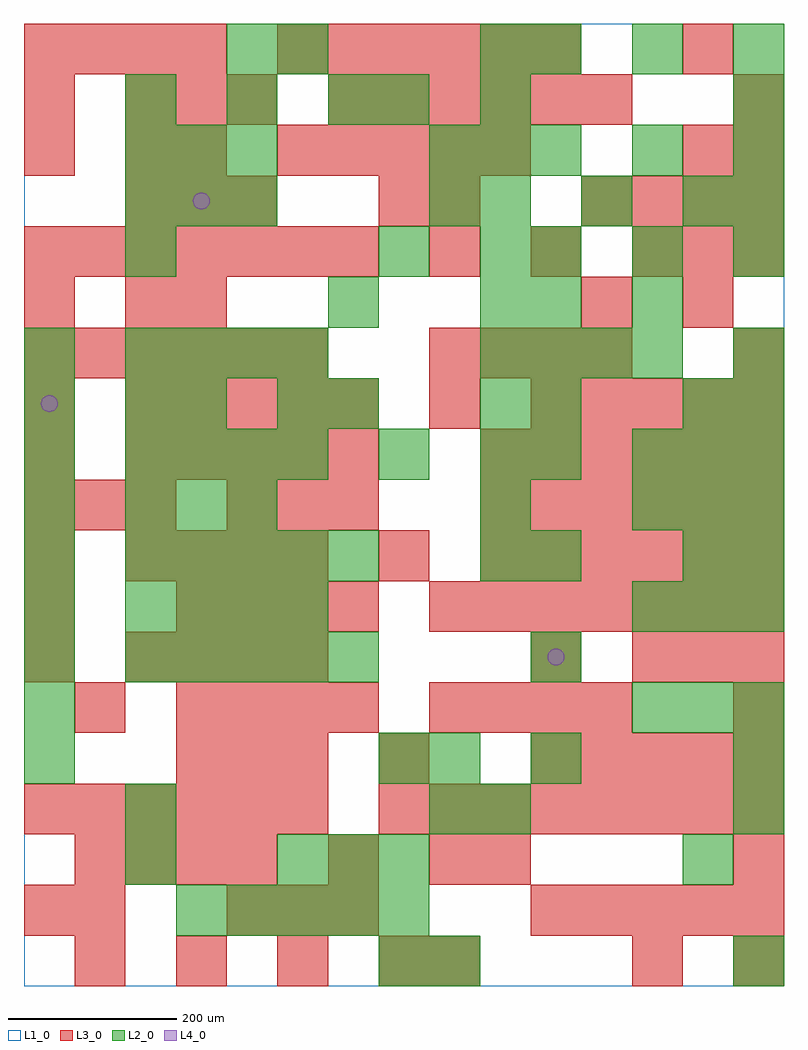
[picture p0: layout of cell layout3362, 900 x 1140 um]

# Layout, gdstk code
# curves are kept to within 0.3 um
import gdstk
lib = gdstk.Library(unit=1e-6, precision=1e-09)
def R(c, l, rs):  # rectangles x0, y0, x1, y1
    for r in rs: c.add(gdstk.rectangle(r[:2], r[2:], *l))
def A(c, l, x, y, w, h, nx, ny, dx, dy):  # array of equal rectangles
    R(c, l, [(x+i*dx, y+j*dy, x+i*dx+w, y+j*dy+h) for i in range(nx) for j in range(ny)])
def P(c, l, *ps):  # polygons
    for p in ps: c.add(gdstk.Polygon(p, *l))
L1_0 = (1, 0)
L2_0 = (2, 0)
L3_0 = (3, 0)
L4_0 = (4, 0)

layout3362 = lib.new_cell('layout3362')
R(layout3362, L1_0, [(0,0,900,1140)])
A(layout3362, L2_0, 180, 60, 60, 60, 5, 1, 60, 0)
A(layout3362, L2_0, 300, 120, 60, 60, 3, 1, 60, 0)
A(layout3362, L2_0, 0, 240, 60, 60, 1, 9, 0, 60)
A(layout3362, L2_0, 600, 240, 60, 60, 1, 4, 0, 120)
A(layout3362, L2_0, 720, 300, 60, 60, 3, 3, 60, 120)
A(layout3362, L2_0, 120, 360, 60, 60, 5, 2, 60, 120)
A(layout3362, L2_0, 120, 420, 60, 60, 4, 2, 60, 180)
A(layout3362, L2_0, 540, 480, 60, 60, 1, 4, 0, 60)
A(layout3362, L2_0, 120, 540, 60, 60, 3, 2, 60, 360)
A(layout3362, L2_0, 720, 600, 60, 60, 3, 1, 60, 0)
A(layout3362, L2_0, 120, 720, 60, 60, 4, 1, 60, 0)
A(layout3362, L2_0, 540, 720, 60, 60, 4, 1, 60, 0)
A(layout3362, L2_0, 600, 840, 60, 60, 3, 2, 120, 240)
A(layout3362, L2_0, 540, 900, 60, 60, 3, 1, 120, 0)
A(layout3362, L2_0, 840, 900, 60, 60, 1, 3, 0, 60)
A(layout3362, L2_0, 120, 960, 60, 60, 3, 1, 60, 0)
A(layout3362, L2_0, 480, 960, 60, 60, 3, 1, 60, 0)
A(layout3362, L2_0, 120, 1020, 60, 60, 3, 1, 120, 0)
R(layout3362, L2_0, [(420,0,480,60), (480,0,540,60), (840,0,900,60), (120,120,180,180), (780,120,840,180), (120,180,180,240), (480,180,540,240), (540,180,600,240), (840,180,900,240), (420,240,480,300), (480,240,540,300), (840,240,900,300), (780,480,840,540), (840,480,900,540), (420,600,480,660), (120,660,180,720), (180,660,240,720), (300,660,360,720), (360,660,420,720), (600,660,660,720), (780,660,840,720), (840,660,900,720), (840,720,900,780), (360,780,420,840), (540,780,600,840), (600,780,660,840), (720,780,780,840), (120,840,180,900), (420,840,480,900), (540,840,600,900), (480,900,540,960), (720,960,780,1020), (420,1020,480,1080), (540,1020,600,1080), (240,1080,300,1140), (300,1080,360,1140), (540,1080,600,1140)])
A(layout3362, L3_0, 60, 0, 60, 60, 4, 1, 120, 0)
A(layout3362, L3_0, 240, 60, 60, 60, 3, 2, 60, 480)
A(layout3362, L3_0, 600, 60, 60, 60, 5, 2, 60, 180)
A(layout3362, L3_0, 60, 120, 60, 60, 4, 1, 60, 0)
A(layout3362, L3_0, 0, 180, 60, 60, 6, 2, 60, 540)
A(layout3362, L3_0, 420, 180, 60, 60, 8, 1, 60, 0)
A(layout3362, L3_0, 180, 240, 60, 60, 3, 1, 60, 0)
A(layout3362, L3_0, 180, 300, 60, 60, 4, 2, 60, 120)
A(layout3362, L3_0, 480, 300, 60, 60, 4, 2, 60, 420)
A(layout3362, L3_0, 0, 360, 60, 60, 1, 3, 0, 60)
A(layout3362, L3_0, 120, 360, 60, 60, 4, 2, 60, 120)
A(layout3362, L3_0, 720, 360, 60, 60, 3, 1, 60, 0)
A(layout3362, L3_0, 480, 420, 60, 60, 7, 1, 60, 0)
A(layout3362, L3_0, 540, 480, 60, 60, 6, 3, 60, 60)
A(layout3362, L3_0, 0, 540, 60, 60, 3, 1, 60, 0)
A(layout3362, L3_0, 120, 600, 60, 60, 5, 2, 60, 60)
A(layout3362, L3_0, 600, 660, 60, 60, 5, 1, 60, 0)
A(layout3362, L3_0, 840, 720, 60, 60, 1, 3, 0, 120)
A(layout3362, L3_0, 0, 840, 60, 60, 7, 1, 60, 0)
A(layout3362, L3_0, 480, 840, 60, 60, 3, 1, 120, 0)
A(layout3362, L3_0, 780, 840, 60, 60, 1, 3, 0, 120)
A(layout3362, L3_0, 120, 900, 60, 60, 3, 2, 60, 120)
A(layout3362, L3_0, 660, 900, 60, 60, 4, 1, 60, 0)
A(layout3362, L3_0, 300, 960, 60, 60, 5, 1, 60, 0)
A(layout3362, L3_0, 360, 1020, 60, 60, 6, 1, 60, 0)
A(layout3362, L3_0, 0, 1080, 60, 60, 4, 1, 60, 0)
A(layout3362, L3_0, 300, 1080, 60, 60, 6, 1, 60, 0)
R(layout3362, L3_0, [(480,0,540,60), (720,0,780,60), (840,0,900,60), (0,60,60,120), (60,60,120,120), (360,120,420,180), (480,120,540,180), (540,120,600,180), (840,120,900,180), (420,240,480,300), (60,300,120,360), (840,300,900,360), (600,360,660,420), (420,480,480,540), (0,600,60,660), (0,660,60,720), (480,660,540,720), (0,780,60,840), (120,780,180,840), (180,780,240,840), (660,780,720,840), (780,780,840,840), (420,900,480,960), (480,900,540,960), (0,960,60,1020), (120,960,180,1020), (180,960,240,1020), (0,1020,60,1080), (840,1020,900,1080)])
P(layout3362, L4_0, [(40,690),(39.239,693.827),(37.071,697.071),(33.827,699.239),(30,700),(26.173,699.239),(22.929,697.071),(20.761,693.827),(20,690),(20.761,686.173),(22.929,682.929),(26.173,680.761),(30,680),(33.827,680.761),(37.071,682.929),(39.239,686.173)],
  [(220,930),(219.239,933.827),(217.071,937.071),(213.827,939.239),(210,940),(206.173,939.239),(202.929,937.071),(200.761,933.827),(200,930),(200.761,926.173),(202.929,922.929),(206.173,920.761),(210,920),(213.827,920.761),(217.071,922.929),(219.239,926.173)],
  [(640,390),(639.239,393.827),(637.071,397.071),(633.827,399.239),(630,400),(626.173,399.239),(622.929,397.071),(620.761,393.827),(620,390),(620.761,386.173),(622.929,382.929),(626.173,380.761),(630,380),(633.827,380.761),(637.071,382.929),(639.239,386.173)])

lib.write_gds('layout3362.gds')
